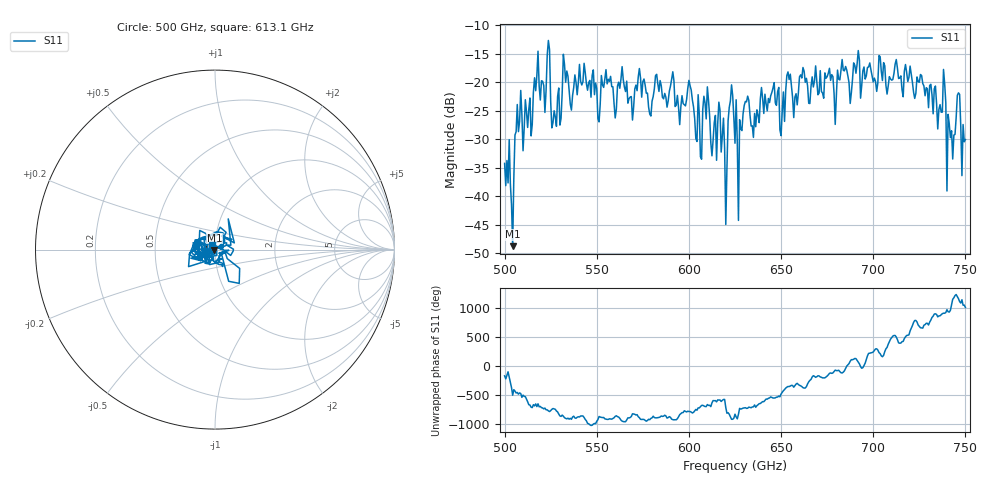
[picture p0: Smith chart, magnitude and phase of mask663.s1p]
!Created with skrf (http://scikit-rf.org).
# GHz S MA R 50.0
!freq magS11 angS11
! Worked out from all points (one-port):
!   401 points, 500 GHz to 750 GHz, reference 50 ohm
!   lowest |S11| = -48.8 dB at 504.4 GHz (marker M1), VSWR 1.01, Z = 49.7 - j0.209 ohm
!   |S11| at or under -10 dB: start of sweep to end of sweep
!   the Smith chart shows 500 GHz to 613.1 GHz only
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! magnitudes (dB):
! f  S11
! 500 GHz  -34.3
! 504.4 GHz  -48.8
! 507.5 GHz  -28.7
! 513.8 GHz  -22.8
! 516.9 GHz  -21.5
! 523.8 GHz  -12.7
! 526.9 GHz  -25.0
! 531.2 GHz  -21.8
! 562.5 GHz  -21.1
! 593.8 GHz  -22.3
! 600.6 GHz  -20.6
! 605.6 GHz  -25.7
! 609.4 GHz  -26.5
! 612.5 GHz  -32.9
! 617.5 GHz  -32.3
! 619.4 GHz  -31.6
! 622.5 GHz  -23.3
! 625 GHz  -30.7
! 627.5 GHz  -26.6
! 631.2 GHz  -23.5
! 635 GHz  -29.7
! 656.2 GHz  -22.7
! 687.5 GHz  -23.8
! 718.8 GHz  -19.9
! 738.1 GHz  -17.8
! 741.2 GHz  -27.4
! 746.2 GHz  -21.9
! 750 GHz  -30.1
